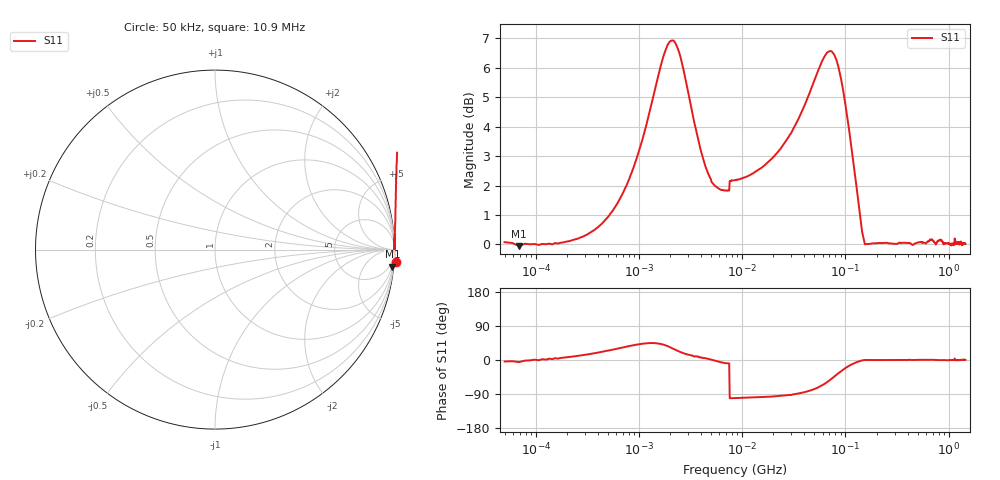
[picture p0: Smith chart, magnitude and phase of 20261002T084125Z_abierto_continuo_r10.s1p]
! piloto_saltos / abierto_continuo / r10
# HZ S RI R 50
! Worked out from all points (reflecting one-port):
!   501 points, 50 kHz to 1.45 GHz, reference 50 ohm
!   lowest |S11| = -0.1 dB at 69 kHz (marker M1), VSWR 298.89, Z = 71.5 - j1.03e+03 ohm
!   phase of S11 starts at -4 deg and turns +4 deg over the sweep
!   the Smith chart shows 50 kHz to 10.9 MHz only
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50000  1.007 -0.0696
69000  0.9887 -0.0958
183000  1.002 0.1048
373000  1.008 0.3266
658000  1.021 0.6277
1180000  1.146 1.11
1630000  1.489 1.354
1990000  1.832 1.238
2440000  1.96 0.8167
3430000  1.593 0.2507
4870000  1.298 0.0422
7300000  1.219 -0.193
7750000  -0.2412 -1.259
8560000  -0.2352 -1.265
1.81e7  -0.1687 -1.372
3.16e7  -0.0122 -1.578
4.78e7  0.368 -1.824
5.68e7  0.6961 -1.887
6.49e7  1.046 -1.828
7.39e7  1.401 -1.598
8.65e7  1.65 -1.1
9.82e7  1.626 -0.6734
1e8  1.61 -0.6207
1.18e8  1.377 -0.2446
1.36e8  1.148 -0.0686
1.63e8  1.002 -0.000133
4.06e8  1.005 -2.9e-05
1.45e9  1.002 0.00826
